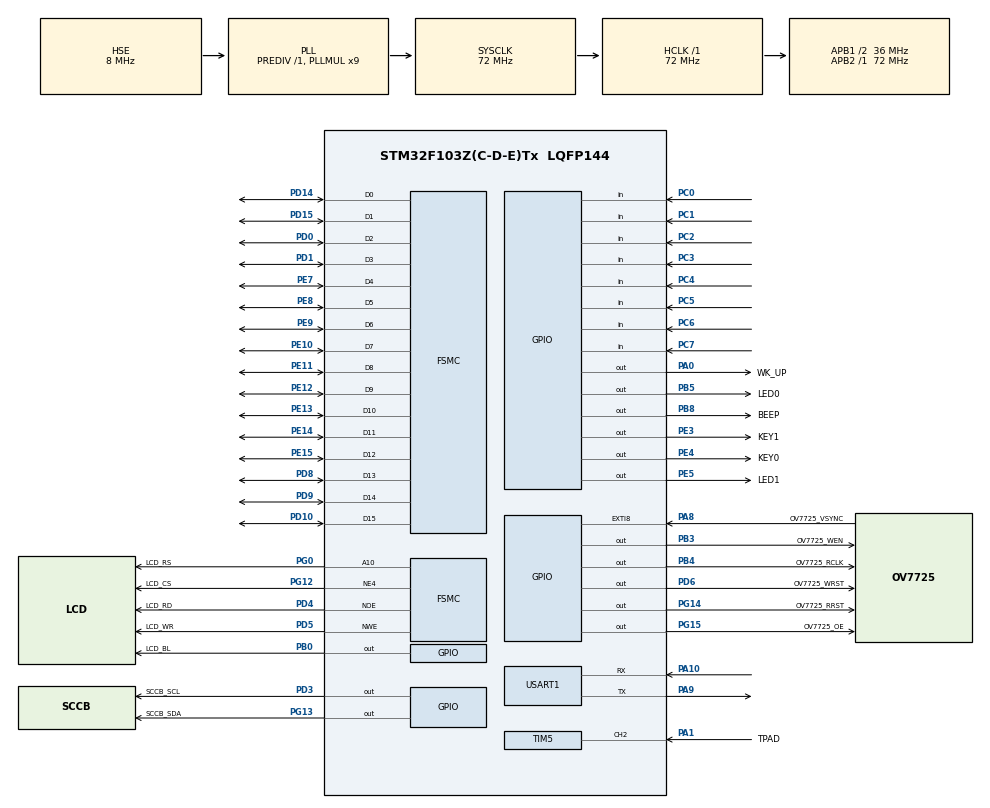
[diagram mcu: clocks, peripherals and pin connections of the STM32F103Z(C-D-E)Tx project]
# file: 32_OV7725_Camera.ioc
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FSMC.AddressSetupTime1=0
FSMC.BusTurnAroundDuration1=15
FSMC.DataSetupTime1=15
FSMC.ExtendedAddressSetupTime1=0
FSMC.ExtendedDataSetupTime1=1
FSMC.ExtendedMode1=FSMC_EXTENDED_MODE_ENABLE
Mcu.Family=STM32F1
Mcu.Name=STM32F103Z(C-D-E)Tx
Mcu.Package=LQFP144
NVIC.EXTI9_5_IRQn=true\:0\:0\:false\:false\:true\:true\:true\:true
NVIC.PriorityGroup=NVIC_PRIORITYGROUP_2
NVIC.TIM6_IRQn=true\:2\:2\:true\:false\:true\:true\:true\:true
NVIC.USART1_IRQn=true\:2\:2\:true\:false\:true\:true\:true\:true
OSC_IN.Mode=HSE-External-Oscillator
OSC_IN.Signal=RCC_OSC_IN
OSC_OUT.Mode=HSE-External-Oscillator
OSC_OUT.Signal=RCC_OSC_OUT
PA0-WKUP.GPIO_Label=WK_UP
PA0-WKUP.GPIO_PuPd=GPIO_PULLDOWN
PA0-WKUP.GPIO_Speed=GPIO_SPEED_FREQ_HIGH
PA0-WKUP.PinState=GPIO_PIN_RESET
PA0-WKUP.Signal=GPIO_Output
PA1.GPIO_Label=TPAD
PA1.GPIO_PuPd=GPIO_PULLDOWN
PA1.Signal=S_TIM5_CH2
PA10.Mode=Asynchronous
PA10.Signal=USART1_RX
PA13.Mode=Serial_Wire
PA13.Signal=SYS_JTMS-SWDIO
PA14.Mode=Serial_Wire
PA14.Signal=SYS_JTCK-SWCLK
PA8.GPIO_Label=OV7725_VSYNC
PA8.GPIO_ModeDefaultEXTI=GPIO_MODE_IT_RISING
PA8.GPIO_PuPd=GPIO_PULLUP
PA8.Signal=GPXTI8
PA9.Mode=Asynchronous
PA9.Signal=USART1_TX
PB0.GPIO_Label=LCD_BL
PB0.GPIO_PuPd=GPIO_PULLUP
PB0.GPIO_Speed=GPIO_SPEED_FREQ_HIGH
PB0.PinState=GPIO_PIN_SET
PB0.Signal=GPIO_Output
PB3.GPIO_Label=OV7725_WEN
PB3.GPIO_PuPd=GPIO_PULLUP
PB3.GPIO_Speed=GPIO_SPEED_FREQ_HIGH
PB3.PinState=GPIO_PIN_SET
PB3.Signal=GPIO_Output
PB4.GPIO_Label=OV7725_RCLK
PB4.GPIO_PuPd=GPIO_PULLUP
PB4.GPIO_Speed=GPIO_SPEED_FREQ_HIGH
PB4.PinState=GPIO_PIN_SET
PB4.Signal=GPIO_Output
PB5.GPIO_Label=LED0
PB5.GPIO_PuPd=GPIO_PULLUP
PB5.GPIO_Speed=GPIO_SPEED_FREQ_HIGH
PB5.PinState=GPIO_PIN_SET
PB5.Signal=GPIO_Output
PB8.GPIO_Label=BEEP
PB8.GPIO_ModeDefaultOutputPP=GPIO_MODE_OUTPUT_PP
PB8.GPIO_PuPd=GPIO_PULLDOWN
PB8.GPIO_Speed=GPIO_SPEED_FREQ_HIGH
PB8.PinState=GPIO_PIN_RESET
PB8.Signal=GPIO_Output
PC0.GPIO_PuPd=GPIO_PULLUP
PC0.Signal=GPIO_Input
PC1.GPIO_PuPd=GPIO_PULLUP
PC1.Signal=GPIO_Input
PC14-OSC32_IN.Mode=LSE-External-Oscillator
PC14-OSC32_IN.Signal=RCC_OSC32_IN
PC15-OSC32_OUT.Mode=LSE-External-Oscillator
PC15-OSC32_OUT.Signal=RCC_OSC32_OUT
PC2.GPIO_PuPd=GPIO_PULLUP
PC2.Signal=GPIO_Input
PC3.GPIO_PuPd=GPIO_PULLUP
PC3.Signal=GPIO_Input
PC4.GPIO_PuPd=GPIO_PULLUP
PC4.Signal=GPIO_Input
PC5.GPIO_PuPd=GPIO_PULLUP
PC5.Signal=GPIO_Input
PC6.GPIO_PuPd=GPIO_PULLUP
PC6.Signal=GPIO_Input
PC7.GPIO_PuPd=GPIO_PULLUP
PC7.Signal=GPIO_Input
PD0.Signal=FSMC_D2_DA2
PD1.Signal=FSMC_D3_DA3
PD10.Signal=FSMC_D15_DA15
PD14.Signal=FSMC_D0_DA0
PD15.Signal=FSMC_D1_DA1
PD3.GPIO_Label=SCCB_SCL
PD3.GPIO_PuPd=GPIO_PULLUP
PD3.GPIO_Speed=GPIO_SPEED_FREQ_HIGH
PD3.PinState=GPIO_PIN_SET
PD3.Signal=GPIO_Output
PD4.GPIO_Label=LCD_RD
PD4.Signal=FSMC_NOE
PD5.GPIO_Label=LCD_WR
PD5.Signal=FSMC_NWE
PD6.GPIO_Label=OV7725_WRST
PD6.GPIO_PuPd=GPIO_PULLUP
PD6.GPIO_Speed=GPIO_SPEED_FREQ_HIGH
PD6.PinState=GPIO_PIN_SET
PD6.Signal=GPIO_Output
PD8.Signal=FSMC_D13_DA13
PD9.Signal=FSMC_D14_DA14
PE10.Signal=FSMC_D7_DA7
PE11.Signal=FSMC_D8_DA8
PE12.Signal=FSMC_D9_DA9
PE13.Signal=FSMC_D10_DA10
PE14.Signal=FSMC_D11_DA11
PE15.Signal=FSMC_D12_DA12
PE3.GPIO_Label=KEY1
PE3.GPIO_PuPd=GPIO_PULLUP
PE3.GPIO_Speed=GPIO_SPEED_FREQ_HIGH
PE3.PinState=GPIO_PIN_SET
PE3.Signal=GPIO_Output
PE4.GPIO_Label=KEY0
PE4.GPIO_PuPd=GPIO_PULLUP
PE4.GPIO_Speed=GPIO_SPEED_FREQ_HIGH
PE4.PinState=GPIO_PIN_SET
PE4.Signal=GPIO_Output
PE5.GPIO_Label=LED1
PE5.GPIO_PuPd=GPIO_PULLUP
PE5.GPIO_Speed=GPIO_SPEED_FREQ_HIGH
PE5.PinState=GPIO_PIN_SET
PE5.Signal=GPIO_Output
PE7.Signal=FSMC_D4_DA4
PE8.Signal=FSMC_D5_DA5
PE9.Signal=FSMC_D6_DA6
PG0.GPIO_Label=LCD_RS
PG0.Signal=FSMC_A10
PG12.GPIO_Label=LCD_CS
PG12.Mode=NorPsramChipSelect4_1
PG12.Signal=FSMC_NE4
PG13.GPIO_Label=SCCB_SDA
PG13.GPIO_ModeDefaultOutputPP=GPIO_MODE_OUTPUT_OD
PG13.GPIO_PuPd=GPIO_PULLUP
PG13.GPIO_Speed=GPIO_SPEED_FREQ_HIGH
PG13.PinState=GPIO_PIN_SET
PG13.Signal=GPIO_Output
PG14.GPIO_Label=OV7725_RRST
PG14.GPIO_PuPd=GPIO_PULLUP
PG14.GPIO_Speed=GPIO_SPEED_FREQ_HIGH
PG14.PinState=GPIO_PIN_SET
PG14.Signal=GPIO_Output
PG15.GPIO_Label=OV7725_OE
PG15.GPIO_PuPd=GPIO_PULLUP
PG15.GPIO_Speed=GPIO_SPEED_FREQ_HIGH
PG15.PinState=GPIO_PIN_SET
PG15.Signal=GPIO_Output
ProjectManager.HeapSize=0x200
ProjectManager.StackSize=0x400
ProjectManager.TargetToolchain=STM32CubeIDE
RCC.AHBFreq_Value=72000000
RCC.APB1CLKDivider=RCC_HCLK_DIV2
RCC.APB1Freq_Value=36000000
RCC.APB1TimFreq_Value=72000000
RCC.APB2Freq_Value=72000000
RCC.APB2TimFreq_Value=72000000
RCC.HCLKFreq_Value=72000000
RCC.PLLMUL=RCC_PLL_MUL9
RCC.PLLSourceVirtual=RCC_PLLSOURCE_HSE
RCC.SYSCLKFreq_VALUE=72000000
RCC.SYSCLKSource=RCC_SYSCLKSOURCE_PLLCLK
RCC.USBFreq_Value=72000000
SH.FSMC_A10.0=FSMC_A10,A10_1
SH.FSMC_D0_DA0.0=FSMC_D0,16b-d1
SH.FSMC_D10_DA10.0=FSMC_D10,16b-d1
SH.FSMC_D11_DA11.0=FSMC_D11,16b-d1
SH.FSMC_D12_DA12.0=FSMC_D12,16b-d1
SH.FSMC_D13_DA13.0=FSMC_D13,16b-d1
SH.FSMC_D14_DA14.0=FSMC_D14,16b-d1
SH.FSMC_D15_DA15.0=FSMC_D15,16b-d1
SH.FSMC_D1_DA1.0=FSMC_D1,16b-d1
SH.FSMC_D2_DA2.0=FSMC_D2,16b-d1
SH.FSMC_D3_DA3.0=FSMC_D3,16b-d1
SH.FSMC_D4_DA4.0=FSMC_D4,16b-d1
SH.FSMC_D5_DA5.0=FSMC_D5,16b-d1
SH.FSMC_D6_DA6.0=FSMC_D6,16b-d1
SH.FSMC_D7_DA7.0=FSMC_D7,16b-d1
SH.FSMC_D8_DA8.0=FSMC_D8,16b-d1
SH.FSMC_D9_DA9.0=FSMC_D9,16b-d1
SH.FSMC_NOE.0=FSMC_NOE,Lcd1
SH.FSMC_NWE.0=FSMC_NWE,Lcd1
SH.S_TIM5_CH2.0=TIM5_CH2,Input_Capture2_from_TI2
TIM5.AutoReloadPreload=TIM_AUTORELOAD_PRELOAD_ENABLE
TIM5.Channel-Input_Capture2_from_TI2=TIM_CHANNEL_2
TIM5.Prescaler=6 - 1
TIM6.AutoReloadPreload=TIM_AUTORELOAD_PRELOAD_ENABLE
TIM6.Period=10000 - 1
TIM6.Prescaler=7200 - 1
USART1.VirtualMode=VM_ASYNC
VP_TIM5_VS_ClockSourceINT.Mode=Internal
VP_TIM6_VS_ClockSourceINT.Mode=Enable_Timer
board=custom

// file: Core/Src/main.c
/* USER CODE BEGIN Header */
/* USER CODE END Header */
#include "main.h"
#include "tim.h"
#include "usart.h"
#include "gpio.h"
#include "fsmc.h"

/* USER CODE BEGIN Includes */
#include "../../BSP/LED/led.h"
#include "../../BSP/KEY/key.h"
#include "../../BSP/LCD/lcd.h"
#include "../../BSP/TPAD/tpad.h"
#include "../../BSP/OV7725/ov7725.h"
#include "../../SYSTEM/delay/delay.h"
/* USER CODE END Includes */

/* USER CODE BEGIN PTD */
extern uint8_t g_ov7725_vsta;  /* 在exit.c里 面定义 */
extern uint8_t g_ov7725_frame; /* 在timer.c里面定义 */
/* USER CODE END PTD */

/* USER CODE BEGIN PD */
/*
 * 受限于OV7725模组的FIFO的容量，无法存下一帧640*480的画像，我们这里QVGA和VGA模式都采用
 * 320*240的分辨率,VGA模式下支持缩放，所以可以使用更小的分辨率来显示，读者可以根据需要自行修改
 */
uint16_t g_ov7725_wwidth = 320;  /* 默认窗口宽度为320 */
uint16_t g_ov7725_wheight = 240; /* 默认窗口高度为240 */

const char *LMODE_TBL[6] = {"Auto", "Sunny", "Cloudy", "Office", "Home", "Night"};                     /* 6种光照模式 */
const char *EFFECTS_TBL[7] = {"Normal", "Negative", "B&W", "Redish", "Greenish", "Bluish", "Antique"}; /* 7种特效 */

/* USER CODE END PD */

/* USER CODE BEGIN PM */

/**
 * @brief       更新LCD显示
 *   @note      该函数将OV7725模块FIFO里面的数据拷贝到LCD屏幕上
 * @param       无
 * @retval      无
 */
void ov7725_camera_refresh(void)
{
    uint32_t i, j;
    uint16_t color;

    if (g_ov7725_vsta) /* 有帧中断更新 */
    {
        lcd_scan_dir(U2D_L2R); /* 从上到下, 从左到右 */
        lcd_set_window((lcddev.width - g_ov7725_wwidth) / 2, (lcddev.height - g_ov7725_wheight) / 2,
                       g_ov7725_wwidth, g_ov7725_wheight); /* 将显示区域设置到屏幕中央 */

        lcd_write_ram_prepare(); /* 开始写入GRAM */

        OV7725_RRST(0); /* 开始复位读指针 */
        OV7725_RCLK(0);
        OV7725_RCLK(1);
        OV7725_RCLK(0);
        OV7725_RRST(1); /* 复位读指针结束 */
        OV7725_RCLK(1);

        for (i = 0; i < g_ov7725_wheight; i++)
        {
            for (j = 0; j < g_ov7725_wwidth; j++)
            {
                OV7725_RCLK(0);
                color = OV7725_DATA; /* 读数据 */
                OV7725_RCLK(1);
                color <<= 8;
                OV7725_RCLK(0);
                color |= OV7725_DATA; /* 读数据 */
                OV7725_RCLK(1);
                LCD->LCD_RAM = color;
            }
        }

        g_ov7725_vsta = 0; /* 清零帧中断标记 */
        g_ov7725_frame++;
        lcd_scan_dir(DFT_SCAN_DIR); /* 恢复默认扫描方向 */
    }
}
/* USER CODE END PM */

void SystemClock_Config(void);

int main(void)
{
  /* USER CODE BEGIN 1 */
    uint8_t key;
    uint8_t i = 0;
    char msgbuf[15]; /* 消息缓存区 */
    uint8_t tm = 0;
    uint8_t lightmode = 0, effect = 0;
    uint8_t saturation = 4, brightness = 4, contrast = 4;
  /* USER CODE END 1 */

  /* MCU Configuration--------------------------------------------------------*/

  /* Reset of all peripherals, Initializes the Flash interface and the Systick. */
  HAL_Init();

  /* Configure the system clock */
  SystemClock_Config();

  /* USER CODE BEGIN SysInit */
  delay_init(72);						/* 初始化延时函数 */
  /* USER CODE END SysInit */

  /* Initialize all configured peripherals */
  MX_GPIO_Init();
  MX_FSMC_Init();
  MX_USART1_UART_Init();
  MX_TIM5_Init();
  MX_TIM6_Init();
  /* USER CODE BEGIN 2 */
  lcd_init();                     		/* 初始化LCD */
  tpad_init();                       	/* TPAD 初始化 */
  lcd_show_string(30,  50, 200, 16, 16, "STM32", RED);
  lcd_show_string(30,  70, 200, 16, 16, "OV7725 TEST", RED);
  lcd_show_string(30,  90, 200, 16, 16, "ATOM@ALIENTEK", RED);
  lcd_show_string(30, 110, 200, 16, 16, "KEY0:Light Mode", RED);
  lcd_show_string(30, 130, 200, 16, 16, "KEY1:Saturation", RED);
  lcd_show_string(30, 150, 200, 16, 16, "KEY_UP:Contrast", RED);
  lcd_show_string(30, 170, 200, 16, 16, "TPAD:Effects", RED);
  lcd_show_string(30, 190, 200, 16, 16, "OV7725 Init...", RED);
  /* USER CODE END 2 */

  /* Infinite loop */
  /* USER CODE BEGIN WHILE */
  while (1)
  {
	  if (ov7725_init() == 0)
	  {
		  lcd_show_string(30, 190, 200, 16, 16, "OV7725 Init OK       ", RED);

		  while (1)
		  {
			  key = key_scan(0);

			  if (key == KEY0_PRES)
			  {
				  g_ov7725_wwidth = 320;                                  /* 默认窗口宽度为320 */
				  g_ov7725_wheight = 240;                                 /* 默认窗口高度为240 */
				  ov7725_window_set(g_ov7725_wwidth, g_ov7725_wheight, 0);/* QVGA模式输出 */
				  break;
			  }
			  else if (key == KEY1_PRES)
			  {
				  g_ov7725_wwidth = 320;                                  /* 默认窗口宽度为320 */
				  g_ov7725_wheight = 240;                                 /* 默认窗口高度为240 */
				  ov7725_window_set(g_ov7725_wwidth, g_ov7725_wheight, 1);/* VGA模式输出 */
				  break;
			  }

			  i++;

			  if (i == 100)
				  lcd_show_string(30, 210, 210, 16, 16, "KEY0:QVGA  KEY1:VGA", RED); /* 闪烁显示提示信息 */

			  if (i == 200)
			  {
				  lcd_fill(30, 230, 210, 250 + 16, WHITE);
				  i = 0;
			  }

			  delay_ms(5);
		  }

		  ov7725_light_mode(lightmode);
		  ov7725_color_saturation(saturation);
		  ov7725_brightness(brightness);
		  ov7725_contrast(contrast);
		  ov7725_special_effects(effect);

		  OV7725_OE(0); /* 使能OV7725 FIFO数据输出 */

		  break;
	  }
	  else
	  {
		  lcd_show_string(30, 190, 200, 16, 16, "OV7725 Error!!", RED);
		  delay_ms(200);
		  lcd_fill(30, 190, 239, 246, WHITE);
		  delay_ms(200);
	  }
  }
  lcd_clear(BLACK);

  while (1)
  {
	  key = key_scan(0); /* 不支持连按 */

	  if (key)
	  {
		  tm = 20;

		  switch (key)
		  {
			  case KEY0_PRES: /* 灯光模式Light Mode */
				  lightmode++;

				  if (lightmode > 5)
					  lightmode = 0;

				  ov7725_light_mode(lightmode);
				  sprintf((char *)msgbuf, "%s", LMODE_TBL[lightmode]);
				  break;

			  case KEY1_PRES: /* 饱和度Saturation */
				  saturation++;

				  if (saturation > 8)
					  saturation = 0;

				  ov7725_color_saturation(saturation);
				  sprintf((char *)msgbuf, "Saturation:%d", saturation);
				  break;

			  case WKUP_PRES: /* 对比度Contrast */
				  contrast++;

				  if (contrast > 8)
					  contrast = 0;

				  ov7725_contrast(contrast);
				  sprintf((char *)msgbuf, "Contrast:%d", contrast);
				  break;
			  }
	  }

	  if (tpad_scan(0)) /* 检测到触摸按键 */
	  {
		  effect++;

		  if (effect > 6)
			  effect = 0;

		  ov7725_special_effects(effect); /* 设置特效 */
		  sprintf((char *)msgbuf, "%s", EFFECTS_TBL[effect]);
		  tm = 20;
	  }

	  ov7725_camera_refresh(); /* 更新显示 */

	  if (tm)
	  {
		  lcd_show_string((lcddev.width - 240) / 2 + 30, (lcddev.height - 320) / 2 + 60, 200, 16, 16, msgbuf, BLUE);
		  tm--;
	  }

	  i++;

	  if (i >= 15) /* DS0闪烁 */
	  {
		  i = 0;
		  LED0_TOGGLE(); /* LED0闪烁 */
	  }

    /* USER CODE END WHILE */

  }
}

void SystemClock_Config(void)
{
  RCC_OscInitTypeDef RCC_OscInitStruct = {0};
  RCC_ClkInitTypeDef RCC_ClkInitStruct = {0};

  /** Initializes the RCC Oscillators according to the specified parameters
  * in the RCC_OscInitTypeDef structure.
  */
  RCC_OscInitStruct.OscillatorType = RCC_OSCILLATORTYPE_HSE;
  RCC_OscInitStruct.HSEState = RCC_HSE_ON;
  RCC_OscInitStruct.HSEPredivValue = RCC_HSE_PREDIV_DIV1;
  RCC_OscInitStruct.HSIState = RCC_HSI_ON;
  RCC_OscInitStruct.PLL.PLLState = RCC_PLL_ON;
  RCC_OscInitStruct.PLL.PLLSource = RCC_PLLSOURCE_HSE;
  RCC_OscInitStruct.PLL.PLLMUL = RCC_PLL_MUL9;
  if (HAL_RCC_OscConfig(&RCC_OscInitStruct) != HAL_OK)
  {
    Error_Handler();
  }

  /** Initializes the CPU, AHB and APB buses clocks
  */
  RCC_ClkInitStruct.ClockType = RCC_CLOCKTYPE_HCLK|RCC_CLOCKTYPE_SYSCLK
                              |RCC_CLOCKTYPE_PCLK1|RCC_CLOCKTYPE_PCLK2;
  RCC_ClkInitStruct.SYSCLKSource = RCC_SYSCLKSOURCE_PLLCLK;
  RCC_ClkInitStruct.AHBCLKDivider = RCC_SYSCLK_DIV1;
  RCC_ClkInitStruct.APB1CLKDivider = RCC_HCLK_DIV2;
  RCC_ClkInitStruct.APB2CLKDivider = RCC_HCLK_DIV1;

  if (HAL_RCC_ClockConfig(&RCC_ClkInitStruct, FLASH_LATENCY_2) != HAL_OK)
  {
    Error_Handler();
  }
}

void Error_Handler(void)
{
  __disable_irq();
  while (1)
  {
  }
}
